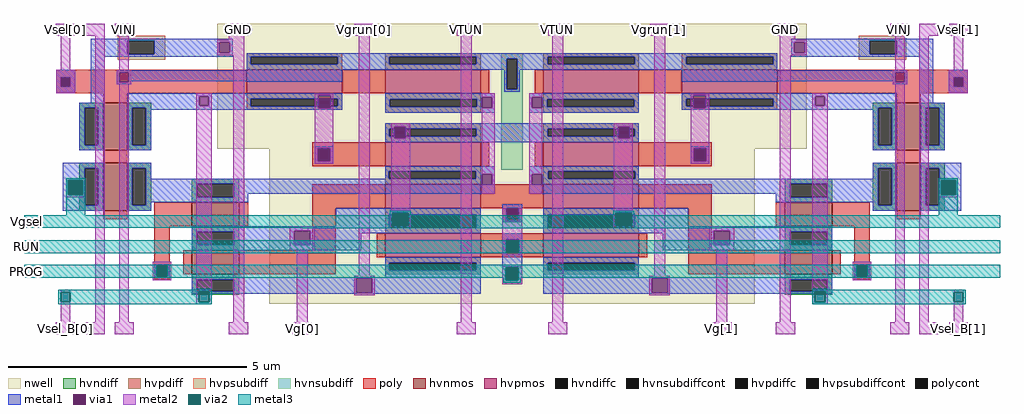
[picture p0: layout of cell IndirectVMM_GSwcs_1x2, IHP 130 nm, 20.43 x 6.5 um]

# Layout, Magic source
magic
tech ihp-sg13g2
magscale 1 2
<< nwell >>
rect -74 1746 2396 2270
rect 144 1098 2178 1746
<< hvnmos >>
rect -550 1740 -450 1940
rect -550 1488 -450 1688
rect 2772 1740 2872 1940
rect -180 1422 20 1522
rect -180 1222 20 1322
rect 2302 1422 2502 1522
rect 2772 1488 2872 1688
rect 2302 1222 2502 1322
<< hvpmos >>
rect 50 1978 450 2078
rect 630 1978 1030 2078
rect 630 1674 1030 1774
rect 1292 1978 1692 2078
rect 1872 1978 2272 2078
rect 1292 1674 1692 1774
rect 630 1498 1030 1598
rect 1292 1498 1692 1598
rect 630 1292 1030 1392
rect 1292 1292 1692 1392
<< hvndiff >>
rect -650 1918 -550 1940
rect -650 1762 -628 1918
rect -572 1762 -550 1918
rect -650 1740 -550 1762
rect -450 1918 -350 1940
rect -450 1762 -428 1918
rect -372 1762 -350 1918
rect -450 1740 -350 1762
rect -650 1666 -550 1688
rect -650 1510 -628 1666
rect -572 1510 -550 1666
rect -650 1488 -550 1510
rect -450 1666 -350 1688
rect -450 1510 -428 1666
rect -372 1510 -350 1666
rect 2672 1918 2772 1940
rect 2672 1762 2694 1918
rect 2750 1762 2772 1918
rect 2672 1740 2772 1762
rect 2872 1918 2972 1940
rect 2872 1762 2894 1918
rect 2950 1762 2972 1918
rect 2872 1740 2972 1762
rect -180 1600 20 1622
rect -180 1544 -158 1600
rect -2 1544 20 1600
rect 2672 1666 2772 1688
rect 2302 1600 2502 1622
rect -180 1522 20 1544
rect -450 1488 -350 1510
rect 2302 1544 2324 1600
rect 2480 1544 2502 1600
rect 2302 1522 2502 1544
rect -180 1400 20 1422
rect -180 1344 -158 1400
rect -2 1344 20 1400
rect -180 1322 20 1344
rect 2672 1510 2694 1666
rect 2750 1510 2772 1666
rect 2672 1488 2772 1510
rect 2872 1666 2972 1688
rect 2872 1510 2894 1666
rect 2950 1510 2972 1666
rect 2872 1488 2972 1510
rect 2302 1400 2502 1422
rect 2302 1344 2324 1400
rect 2480 1344 2502 1400
rect 2302 1322 2502 1344
rect -180 1198 20 1222
rect -180 1150 -158 1198
rect -2 1150 20 1198
rect -180 1136 20 1150
rect 2302 1198 2502 1222
rect 2302 1150 2324 1198
rect 2480 1150 2502 1198
rect 2302 1136 2502 1150
<< hvpdiff >>
rect 50 2132 450 2146
rect 50 2100 68 2132
rect 432 2100 450 2132
rect 50 2078 450 2100
rect 630 2132 1030 2146
rect 630 2100 648 2132
rect 1012 2100 1030 2132
rect 630 2078 1030 2100
rect 1292 2132 1692 2146
rect 1292 2100 1310 2132
rect 1674 2100 1692 2132
rect 1292 2078 1692 2100
rect 1872 2132 2272 2146
rect 1872 2100 1890 2132
rect 2254 2100 2272 2132
rect 1872 2078 2272 2100
rect 50 1956 450 1978
rect 50 1924 68 1956
rect 432 1924 450 1956
rect 50 1910 450 1924
rect 630 1954 1030 1978
rect 630 1922 650 1954
rect 1014 1922 1030 1954
rect 630 1898 1030 1922
rect 630 1830 1030 1854
rect 630 1798 648 1830
rect 1012 1798 1030 1830
rect 630 1774 1030 1798
rect 630 1652 1030 1674
rect 1292 1954 1692 1978
rect 1292 1922 1308 1954
rect 1672 1922 1692 1954
rect 1292 1898 1692 1922
rect 1872 1956 2272 1978
rect 1872 1924 1890 1956
rect 2254 1924 2272 1956
rect 1872 1910 2272 1924
rect 1292 1830 1692 1854
rect 1292 1798 1310 1830
rect 1674 1798 1692 1830
rect 1292 1774 1692 1798
rect 630 1620 646 1652
rect 1010 1620 1030 1652
rect 630 1598 1030 1620
rect 1292 1652 1692 1674
rect 1292 1620 1312 1652
rect 1676 1620 1692 1652
rect 1292 1598 1692 1620
rect 630 1470 1030 1498
rect 630 1416 648 1470
rect 1012 1416 1030 1470
rect 1292 1470 1692 1498
rect 630 1392 1030 1416
rect 1292 1416 1310 1470
rect 1674 1416 1692 1470
rect 1292 1392 1692 1416
rect 630 1270 1030 1292
rect 630 1238 648 1270
rect 1012 1238 1030 1270
rect 630 1222 1030 1238
rect 1292 1270 1692 1292
rect 1292 1238 1310 1270
rect 1674 1238 1692 1270
rect 1292 1222 1692 1238
<< hvndiffc >>
rect -628 1762 -572 1918
rect -428 1762 -372 1918
rect -628 1510 -572 1666
rect -428 1510 -372 1666
rect 2694 1762 2750 1918
rect 2894 1762 2950 1918
rect -158 1544 -2 1600
rect 2324 1544 2480 1600
rect -158 1344 -2 1400
rect 2694 1510 2750 1666
rect 2894 1510 2950 1666
rect 2324 1344 2480 1400
rect -158 1150 -2 1198
rect 2324 1150 2480 1198
<< hvpdiffc >>
rect 68 2100 432 2132
rect 648 2100 1012 2132
rect 1310 2100 1674 2132
rect 1890 2100 2254 2132
rect 68 1924 432 1956
rect 650 1922 1014 1954
rect 648 1798 1012 1830
rect 1308 1922 1672 1954
rect 1890 1924 2254 1956
rect 1310 1798 1674 1830
rect 646 1620 1010 1652
rect 1312 1620 1676 1652
rect 648 1416 1012 1470
rect 1310 1416 1674 1470
rect 648 1238 1012 1270
rect 1310 1238 1674 1270
<< hvpsubdiff >>
rect -490 2198 -290 2220
rect -490 2142 -450 2198
rect -336 2142 -290 2198
rect 2612 2198 2812 2220
rect -490 2120 -290 2142
rect 2612 2142 2658 2198
rect 2772 2142 2812 2198
rect 2612 2120 2812 2142
<< hvnsubdiff >>
rect 1116 2124 1206 2146
rect 1116 1996 1138 2124
rect 1184 1996 1206 2124
rect 1116 1658 1206 1996
<< hvpsubdiffcont >>
rect -450 2142 -336 2198
rect 2658 2142 2772 2198
<< hvnsubdiffcont >>
rect 1138 1996 1184 2124
<< poly >>
rect -746 2046 50 2078
rect -746 2006 -728 2046
rect -688 2006 50 2046
rect -746 1978 50 2006
rect 450 1978 630 2078
rect 1030 1978 1066 2078
rect -550 1940 -450 1978
rect 324 1748 630 1774
rect -550 1688 -450 1740
rect 324 1694 348 1748
rect 400 1694 630 1748
rect 324 1674 630 1694
rect 1030 1674 1066 1774
rect 1256 1978 1292 2078
rect 1692 1978 1872 2078
rect 2272 2046 3068 2078
rect 2272 2006 3010 2046
rect 3050 2006 3068 2046
rect 2272 1978 3068 2006
rect 2772 1940 2872 1978
rect 1256 1674 1292 1774
rect 1692 1748 1998 1774
rect 1692 1694 1922 1748
rect 1974 1694 1998 1748
rect 1692 1674 1998 1694
rect 2772 1688 2872 1740
rect -550 1452 -450 1488
rect -336 1422 -180 1522
rect 20 1422 56 1522
rect 324 1498 630 1598
rect 1030 1498 1292 1598
rect 1692 1498 1998 1598
rect -336 1254 -272 1422
rect 324 1322 424 1498
rect 1120 1452 1136 1498
rect 1190 1452 1204 1498
rect 1120 1438 1204 1452
rect -336 1216 -322 1254
rect -286 1216 -272 1254
rect -216 1222 -180 1322
rect 20 1222 424 1322
rect 594 1292 630 1392
rect 1030 1368 1292 1392
rect 1030 1314 1136 1368
rect 1190 1314 1292 1368
rect 1030 1292 1292 1314
rect 1692 1292 1728 1392
rect 1898 1322 1998 1498
rect 2266 1422 2302 1522
rect 2502 1422 2658 1522
rect 2772 1452 2872 1488
rect 1898 1222 2302 1322
rect 2502 1222 2538 1322
rect 2594 1254 2658 1422
rect -336 1200 -272 1216
rect 2594 1216 2608 1254
rect 2644 1216 2658 1254
rect 2594 1200 2658 1216
<< polycont >>
rect -728 2006 -688 2046
rect 348 1694 400 1748
rect 3010 2006 3050 2046
rect 1922 1694 1974 1748
rect 1136 1452 1190 1498
rect -322 1216 -286 1254
rect 1136 1314 1190 1368
rect 2608 1216 2644 1254
<< metal1 >>
rect -602 2198 -8 2208
rect -602 2142 -450 2198
rect -336 2192 -8 2198
rect -336 2148 -64 2192
rect -20 2148 -8 2192
rect -336 2142 -8 2148
rect 2330 2198 2924 2208
rect 2330 2192 2658 2198
rect 2330 2148 2342 2192
rect 2386 2148 2658 2192
rect -602 2132 -8 2142
rect 50 2132 2272 2146
rect 2330 2142 2658 2148
rect 2772 2142 2924 2198
rect 2330 2132 2924 2142
rect -746 2046 -668 2078
rect -746 2006 -728 2046
rect -688 2006 -668 2046
rect -746 1978 -668 2006
rect -602 1940 -544 2132
rect 50 2100 68 2132
rect 432 2100 648 2132
rect 1012 2124 1310 2132
rect 1012 2100 1138 2124
rect 50 2078 1138 2100
rect 50 2076 450 2078
rect -494 2066 450 2076
rect -494 2026 -484 2066
rect -444 2029 450 2066
rect -444 2026 -434 2029
rect 50 2028 450 2029
rect -494 2016 -434 2026
rect 1128 1996 1138 2078
rect 1184 2100 1310 2124
rect 1674 2100 1890 2132
rect 2254 2100 2272 2132
rect 1184 2078 2272 2100
rect 1184 1996 1194 2078
rect 1872 2076 2272 2078
rect 1872 2066 2816 2076
rect 1872 2029 2766 2066
rect 1872 2028 2272 2029
rect 2756 2026 2766 2029
rect 2806 2026 2816 2066
rect 2756 2016 2816 2026
rect 1128 1986 1194 1996
rect -650 1918 -544 1940
rect -650 1762 -628 1918
rect -572 1762 -544 1918
rect -650 1740 -544 1762
rect -450 1970 450 1978
rect -450 1966 350 1970
rect -450 1926 -148 1966
rect -108 1956 350 1966
rect 402 1956 450 1970
rect -108 1926 68 1956
rect -450 1924 68 1926
rect 432 1924 450 1956
rect -450 1918 350 1924
rect -450 1762 -428 1918
rect -372 1916 350 1918
rect 402 1916 450 1924
rect -372 1910 450 1916
rect 630 1962 1088 1978
rect 630 1954 1034 1962
rect 630 1922 650 1954
rect 1014 1922 1034 1954
rect 630 1918 1034 1922
rect 1078 1918 1088 1962
rect -372 1762 -350 1910
rect 630 1898 1088 1918
rect 1234 1962 1692 1978
rect 1234 1918 1244 1962
rect 1288 1954 1692 1962
rect 1288 1922 1308 1954
rect 1672 1922 1692 1954
rect 1288 1918 1692 1922
rect 1234 1898 1692 1918
rect 1872 1970 2772 1978
rect 1872 1956 1920 1970
rect 1972 1966 2772 1970
rect 1972 1956 2430 1966
rect 1872 1924 1890 1956
rect 2254 1926 2430 1956
rect 2470 1926 2772 1966
rect 2254 1924 2772 1926
rect 1872 1916 1920 1924
rect 1972 1918 2772 1924
rect 1972 1916 2694 1918
rect 1872 1910 2694 1916
rect 630 1838 1692 1854
rect 630 1830 668 1838
rect 716 1830 1606 1838
rect 1654 1830 1692 1838
rect 630 1798 648 1830
rect 1012 1798 1310 1830
rect 1674 1798 1692 1830
rect 630 1790 668 1798
rect 716 1790 1606 1798
rect 1654 1790 1692 1798
rect 630 1774 1692 1790
rect -450 1740 -350 1762
rect 2672 1762 2694 1910
rect 2750 1762 2772 1918
rect 336 1748 412 1758
rect 336 1694 348 1748
rect 400 1694 412 1748
rect -720 1666 -550 1688
rect -720 1614 -628 1666
rect -720 1554 -696 1614
rect -636 1554 -628 1614
rect -720 1510 -628 1554
rect -572 1510 -550 1666
rect -720 1488 -550 1510
rect -450 1666 -350 1688
rect 336 1684 412 1694
rect 1910 1748 1986 1758
rect 1910 1694 1922 1748
rect 1974 1694 1986 1748
rect 2672 1740 2772 1762
rect 2866 1940 2924 2132
rect 2990 2046 3068 2078
rect 2990 2006 3010 2046
rect 3050 2006 3068 2046
rect 2990 1978 3068 2006
rect 2866 1918 2972 1940
rect 2866 1762 2894 1918
rect 2950 1762 2972 1918
rect 2866 1740 2972 1762
rect 1910 1684 1986 1694
rect -450 1510 -428 1666
rect -372 1622 -350 1666
rect 630 1652 1088 1674
rect 630 1622 646 1652
rect -372 1620 646 1622
rect 1010 1640 1088 1652
rect 1010 1620 1034 1640
rect -372 1600 1034 1620
rect -372 1544 -158 1600
rect -2 1596 1034 1600
rect 1078 1596 1088 1640
rect -2 1558 1088 1596
rect 1234 1652 1692 1674
rect 1234 1640 1312 1652
rect 1234 1596 1244 1640
rect 1288 1620 1312 1640
rect 1676 1622 1692 1652
rect 2672 1666 2772 1688
rect 2672 1622 2694 1666
rect 1676 1620 2694 1622
rect 1288 1600 2694 1620
rect 1288 1596 2324 1600
rect 1234 1558 2324 1596
rect -2 1544 56 1558
rect -372 1522 56 1544
rect 2266 1544 2324 1558
rect 2480 1544 2694 1600
rect 2266 1522 2694 1544
rect -372 1510 -350 1522
rect -450 1488 -350 1510
rect 1120 1498 1204 1514
rect 2672 1510 2694 1522
rect 2750 1510 2772 1666
rect 424 1470 1030 1498
rect 424 1422 648 1470
rect -180 1416 648 1422
rect 1012 1416 1030 1470
rect 1120 1444 1136 1498
rect 1190 1444 1204 1498
rect 1120 1438 1204 1444
rect 1292 1470 1898 1498
rect 2672 1488 2772 1510
rect 2872 1666 3042 1688
rect 2872 1510 2894 1666
rect 2950 1614 3042 1666
rect 2950 1554 2958 1614
rect 3018 1554 3042 1614
rect 2950 1510 3042 1554
rect 2872 1488 3042 1510
rect -180 1404 1030 1416
rect -180 1400 250 1404
rect -180 1344 -158 1400
rect -2 1344 250 1400
rect 316 1392 1030 1404
rect 1292 1416 1310 1470
rect 1674 1422 1898 1470
rect 1674 1416 2502 1422
rect 1292 1404 2502 1416
rect 1292 1392 2006 1404
rect 316 1344 530 1392
rect -180 1322 530 1344
rect 1120 1368 1204 1392
rect 1120 1314 1136 1368
rect 1190 1314 1204 1368
rect 1792 1344 2006 1392
rect 2072 1400 2502 1404
rect 2072 1344 2324 1400
rect 2480 1344 2502 1400
rect 1792 1322 2502 1344
rect 630 1270 1030 1292
rect -336 1258 -272 1264
rect -336 1212 -326 1258
rect -282 1212 -272 1258
rect -336 1206 -272 1212
rect 630 1238 648 1270
rect 1012 1238 1030 1270
rect 630 1208 1030 1238
rect -180 1204 1030 1208
rect -180 1198 510 1204
rect -180 1150 -158 1198
rect -2 1150 510 1198
rect -180 1144 510 1150
rect 576 1144 1030 1204
rect 1120 1250 1204 1314
rect 1120 1196 1134 1250
rect 1188 1196 1204 1250
rect 1120 1180 1204 1196
rect 1292 1270 1692 1292
rect 1292 1238 1310 1270
rect 1674 1238 1692 1270
rect 1292 1208 1692 1238
rect 2594 1258 2658 1264
rect 2594 1212 2604 1258
rect 2648 1212 2658 1258
rect 1292 1204 2502 1208
rect 2594 1206 2658 1212
rect -180 1140 1030 1144
rect 1292 1144 1746 1204
rect 1812 1198 2502 1204
rect 1812 1150 2324 1198
rect 2480 1150 2502 1198
rect 1812 1144 2502 1150
rect 1292 1140 2502 1144
<< via1 >>
rect -64 2148 -20 2192
rect 2342 2148 2386 2192
rect -728 2006 -688 2046
rect -484 2026 -444 2066
rect 2766 2026 2806 2066
rect -148 1926 -108 1966
rect 350 1956 402 1970
rect 350 1924 402 1956
rect 350 1916 402 1924
rect 1034 1918 1078 1962
rect 1244 1918 1288 1962
rect 1920 1956 1972 1970
rect 1920 1924 1972 1956
rect 2430 1926 2470 1966
rect 1920 1916 1972 1924
rect 668 1830 716 1838
rect 1606 1830 1654 1838
rect 668 1798 716 1830
rect 1606 1798 1654 1830
rect 668 1790 716 1798
rect 1606 1790 1654 1798
rect 348 1694 400 1748
rect -696 1554 -636 1614
rect 1922 1694 1974 1748
rect 3010 2006 3050 2046
rect 1034 1596 1078 1640
rect 1244 1596 1288 1640
rect 1136 1452 1190 1498
rect 1136 1444 1190 1452
rect 2958 1554 3018 1614
rect 250 1344 316 1404
rect 2006 1344 2072 1404
rect -326 1254 -282 1258
rect -326 1216 -322 1254
rect -322 1216 -286 1254
rect -286 1216 -282 1254
rect -326 1212 -282 1216
rect 510 1144 576 1204
rect 1134 1196 1188 1250
rect 2604 1254 2648 1258
rect 2604 1216 2608 1254
rect 2608 1216 2644 1254
rect 2644 1216 2648 1254
rect 2604 1212 2648 1216
rect 1746 1144 1812 1204
<< metal2 >>
rect -750 2220 -670 2270
rect -624 2220 -544 2270
rect -502 2220 -422 2270
rect -24 2220 56 2270
rect 502 2220 582 2270
rect 930 2220 1010 2270
rect 1312 2220 1392 2270
rect 1740 2220 1820 2270
rect 2266 2220 2346 2270
rect 2744 2220 2824 2270
rect 2866 2220 2946 2270
rect 2992 2220 3072 2270
rect -728 2078 -688 2220
rect -746 2046 -668 2078
rect -746 2006 -728 2046
rect -688 2006 -668 2046
rect -746 1978 -668 2006
rect -706 1614 -626 1624
rect -706 1554 -696 1614
rect -636 1554 -626 1614
rect -706 1544 -626 1554
rect -728 1146 -688 1156
rect -728 1020 -688 1106
rect -584 1020 -544 2220
rect -484 2076 -444 2220
rect -24 2202 40 2220
rect -74 2192 40 2202
rect -74 2148 -64 2192
rect -20 2148 40 2192
rect -74 2138 40 2148
rect -494 2066 -434 2076
rect -494 2026 -484 2066
rect -444 2026 -434 2066
rect -494 2016 -434 2026
rect -484 1020 -444 2016
rect -160 1966 -96 1978
rect -160 1926 -148 1966
rect -108 1926 -96 1966
rect -342 1258 -266 1274
rect -342 1212 -326 1258
rect -282 1212 -266 1258
rect -342 1196 -266 1212
rect -160 1150 -96 1926
rect -160 1104 -150 1150
rect -106 1104 -96 1150
rect -160 1096 -96 1104
rect -6 1020 40 2138
rect 336 1970 412 1976
rect 336 1916 350 1970
rect 402 1916 412 1970
rect 336 1748 412 1916
rect 336 1694 348 1748
rect 400 1694 412 1748
rect 336 1684 412 1694
rect 230 1404 336 1422
rect 230 1344 250 1404
rect 316 1344 336 1404
rect 230 1322 336 1344
rect 260 1020 306 1322
rect 520 1214 566 2220
rect 656 1838 734 1854
rect 656 1790 668 1838
rect 716 1790 734 1838
rect 656 1488 734 1790
rect 650 1478 738 1488
rect 650 1424 660 1478
rect 726 1424 738 1478
rect 650 1414 738 1424
rect 500 1204 586 1214
rect 500 1144 510 1204
rect 576 1144 586 1204
rect 500 1134 586 1144
rect 946 1020 992 2220
rect 1034 1962 1088 1978
rect 1078 1918 1088 1962
rect 1034 1640 1088 1918
rect 1078 1596 1088 1640
rect 1034 1558 1088 1596
rect 1234 1962 1288 1978
rect 1234 1918 1244 1962
rect 1234 1640 1288 1918
rect 1234 1596 1244 1640
rect 1234 1558 1288 1596
rect 1120 1444 1136 1498
rect 1190 1444 1204 1498
rect 1120 1364 1204 1444
rect 1120 1310 1136 1364
rect 1190 1310 1204 1364
rect 1120 1300 1204 1310
rect 1120 1250 1204 1254
rect 1120 1196 1134 1250
rect 1188 1196 1204 1250
rect 1120 1180 1204 1196
rect 1330 1020 1376 2220
rect 1588 1838 1666 1854
rect 1588 1790 1606 1838
rect 1654 1790 1666 1838
rect 1588 1488 1666 1790
rect 1584 1478 1672 1488
rect 1584 1424 1596 1478
rect 1662 1424 1672 1478
rect 1584 1414 1672 1424
rect 1756 1214 1802 2220
rect 2282 2202 2346 2220
rect 2282 2192 2396 2202
rect 2282 2148 2342 2192
rect 2386 2148 2396 2192
rect 2282 2138 2396 2148
rect 1910 1970 1986 1976
rect 1910 1916 1920 1970
rect 1972 1916 1986 1970
rect 1910 1748 1986 1916
rect 1910 1694 1922 1748
rect 1974 1694 1986 1748
rect 1910 1684 1986 1694
rect 1986 1404 2092 1422
rect 1986 1344 2006 1404
rect 2072 1344 2092 1404
rect 1986 1322 2092 1344
rect 1736 1204 1822 1214
rect 1736 1144 1746 1204
rect 1812 1144 1822 1204
rect 1736 1134 1822 1144
rect 2016 1020 2062 1322
rect 2282 1020 2328 2138
rect 2766 2076 2806 2220
rect 2756 2066 2816 2076
rect 2756 2026 2766 2066
rect 2806 2026 2816 2066
rect 2756 2016 2816 2026
rect 2418 1966 2482 1978
rect 2418 1926 2430 1966
rect 2470 1926 2482 1966
rect 2418 1150 2482 1926
rect 2588 1258 2664 1274
rect 2588 1212 2604 1258
rect 2648 1212 2664 1258
rect 2588 1196 2664 1212
rect 2418 1104 2428 1150
rect 2472 1104 2482 1150
rect 2418 1096 2482 1104
rect 2766 1020 2806 2016
rect 2866 1020 2906 2220
rect 3010 2078 3050 2220
rect 2990 2046 3068 2078
rect 2990 2006 3010 2046
rect 3050 2006 3068 2046
rect 2990 1978 3068 2006
rect 2948 1614 3028 1624
rect 2948 1554 2958 1614
rect 3018 1554 3028 1614
rect 2948 1544 3028 1554
rect 3010 1146 3050 1156
rect 3010 1020 3050 1106
rect -750 970 -670 1020
rect -624 970 -544 1020
rect -502 970 -422 1020
rect -24 970 56 1020
rect 242 970 322 1020
rect 930 970 1010 1020
rect 1312 970 1392 1020
rect 2000 970 2080 1020
rect 2266 970 2346 1020
rect 2744 970 2824 1020
rect 2866 970 2946 1020
rect 2992 970 3072 1020
<< via2 >>
rect -696 1554 -636 1614
rect -728 1106 -688 1146
rect -326 1212 -282 1258
rect -150 1104 -106 1150
rect 660 1424 726 1478
rect 1136 1310 1190 1364
rect 1134 1196 1188 1250
rect 1596 1424 1662 1478
rect 2604 1212 2648 1258
rect 2428 1104 2472 1150
rect 2958 1554 3018 1614
rect 3010 1106 3050 1146
<< metal3 >>
rect -706 1614 -626 1624
rect -706 1554 -696 1614
rect -636 1554 -626 1614
rect -706 1468 -626 1554
rect 2948 1614 3028 1624
rect 2948 1554 2958 1614
rect 3018 1554 3028 1614
rect 650 1478 738 1488
rect 650 1468 660 1478
rect -882 1424 660 1468
rect 726 1468 738 1478
rect 1584 1478 1672 1488
rect 1584 1468 1596 1478
rect 726 1424 1596 1468
rect 1662 1468 1672 1478
rect 2948 1468 3028 1554
rect 1662 1424 3204 1468
rect -882 1416 3204 1424
rect 284 1414 2038 1416
rect -882 1310 1136 1364
rect 1190 1310 3204 1364
rect -882 1258 3204 1260
rect -882 1212 -326 1258
rect -282 1250 2604 1258
rect -282 1212 1134 1250
rect -882 1206 1134 1212
rect 1124 1196 1134 1206
rect 1188 1212 2604 1250
rect 2648 1212 3204 1258
rect 1188 1206 3204 1212
rect 1188 1196 1198 1206
rect 1124 1186 1198 1196
rect -160 1156 -96 1160
rect -738 1150 -96 1156
rect -738 1146 -150 1150
rect -738 1106 -728 1146
rect -688 1106 -150 1146
rect -738 1104 -150 1106
rect -106 1104 -96 1150
rect -738 1096 -96 1104
rect 2418 1156 2482 1160
rect 2418 1150 3060 1156
rect 2418 1104 2428 1150
rect 2472 1146 3060 1150
rect 2472 1106 3010 1146
rect 3050 1106 3060 1146
rect 2472 1104 3060 1106
rect 2418 1096 3060 1104
<< labels >>
flabel metal2 -750 2220 -670 2270 1 FreeSans 80 0 0 0 Vsel[0]
port 1 n
flabel metal2 -624 2220 -544 2270 1 FreeSans 80 0 0 0 Vs[0]
port 2 n
flabel metal2 -502 2220 -422 2270 1 FreeSans 80 0 0 0 VINJ
port 3 n
flabel metal2 -24 2220 56 2270 1 FreeSans 80 0 0 0 GND
port 4 n
flabel metal2 502 2220 582 2270 1 FreeSans 80 0 0 0 Vgrun[0]
port 5 n
flabel metal2 930 2220 1010 2270 1 FreeSans 80 0 0 0 VTUN
port 6 n
flabel metal2 1312 2220 1392 2270 1 FreeSans 80 0 0 0 VTUN
port 6 n
flabel metal2 1740 2220 1820 2270 1 FreeSans 80 0 0 0 Vgrun[1]
port 7 n
flabel metal2 2266 2220 2346 2270 1 FreeSans 80 0 0 0 GND
port 4 n
flabel metal2 2744 2220 2824 2270 1 FreeSans 80 0 0 0 VINJ
port 3 n
flabel metal2 2866 2220 2946 2270 1 FreeSans 80 0 0 0 Vs[1]
port 8 n
flabel metal2 2992 2220 3072 2270 1 FreeSans 80 0 0 0 Vsel[1]
port 9 n
flabel metal2 -750 970 -670 1020 1 FreeSans 80 0 0 0 Vsel_B[0]
port 13 n
flabel metal2 242 970 322 1020 1 FreeSans 80 0 0 0 Vg[0]
port 14 n
flabel metal2 2000 970 2080 1020 1 FreeSans 80 0 0 0 Vg[1]
port 15 n
flabel metal2 2992 970 3072 1020 1 FreeSans 80 0 0 0 Vsel_B[1]
port 16 n
flabel metal3 -882 1416 -858 1468 1 FreeSans 80 90 0 0 Vgsel
port 10 n
flabel metal3 -882 1310 -858 1364 1 FreeSans 80 90 0 0 RUN
port 11 n
flabel metal3 -882 1206 -858 1260 1 FreeSans 80 90 0 0 PROG
port 12 n
<< end >>
